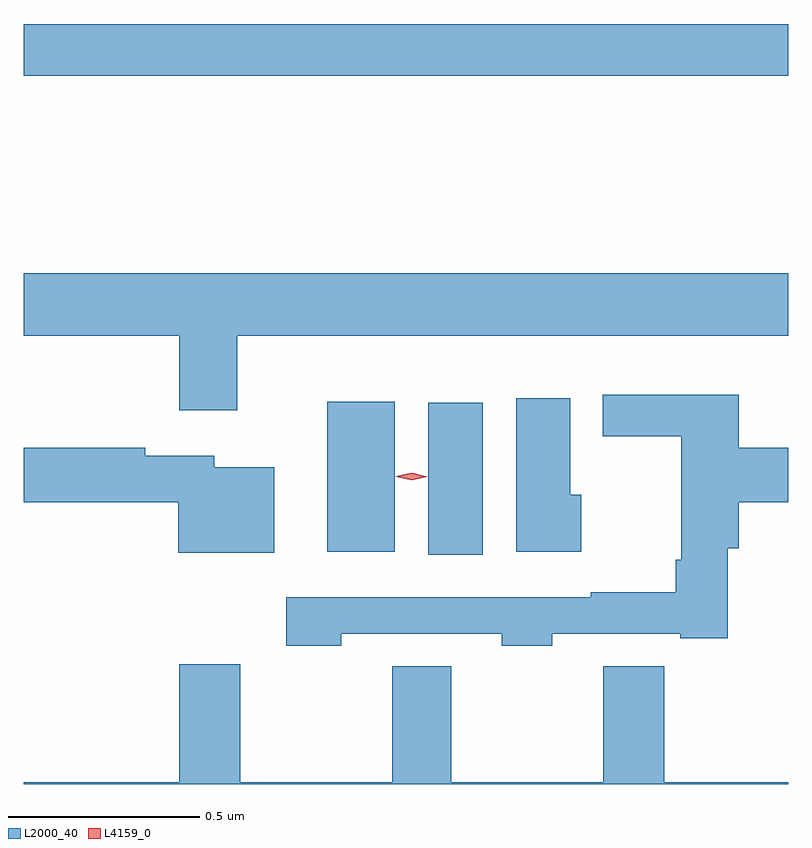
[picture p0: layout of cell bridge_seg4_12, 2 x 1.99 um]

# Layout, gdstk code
import gdstk
lib = gdstk.Library(unit=1e-6, precision=1e-09)
def R(c, l, rs):  # rectangles x0, y0, x1, y1
    for r in rs: c.add(gdstk.rectangle(r[:2], r[2:], *l))
def P(c, l, *ps):  # polygons
    for p in ps: c.add(gdstk.Polygon(p, *l))
L2000_40 = (2000, 40)
L4159_0 = (4159, 0)

bridge_seg4_12 = lib.new_cell('bridge_seg4_12')
R(bridge_seg4_12, L2000_40, [(1130.606,749.628,1130.749,750.025), (1130.342,749.636,1130.518,750.028), (1129.548,750.88,1131.548,751.016)])
P(bridge_seg4_12, L2000_40, [(1130.107,750.2),(1131.548,750.2),(1131.548,750.364),(1129.548,750.364),(1129.548,750.2),(1129.955,750.2),(1129.955,750.006),(1130.107,750.006)],
  [(1130.379,749.421),(1130.799,749.421),(1130.799,749.389),(1130.931,749.389),(1130.931,749.421),(1131.266,749.421),(1131.266,749.409),(1131.389,749.409),(1131.389,749.645),(1131.419,749.645),(1131.419,749.765),(1131.548,749.765),(1131.548,749.907),(1131.419,749.907),(1131.419,750.046),(1131.063,750.046),(1131.063,749.937),(1131.268,749.937),(1131.268,749.614),(1131.253,749.614),(1131.253,749.53),(1131.031,749.53),(1131.031,749.517),(1130.235,749.517),(1130.235,749.389),(1130.379,749.389)],
  [(1131.007,749.784),(1130.977,749.784),(1130.977,750.037),(1130.837,750.037),(1130.837,749.636),(1131.007,749.636)],
  [(1130.203,749.857),(1130.046,749.857),(1130.046,749.887),(1129.866,749.887),(1129.866,749.907),(1129.548,749.907),(1129.548,749.765),(1129.952,749.765),(1129.952,749.633),(1130.203,749.633)],
  [(1131.548,749.032),(1131.224,749.032),(1131.224,749.336),(1131.064,749.336),(1131.064,749.032),(1130.666,749.032),(1130.666,749.336),(1130.512,749.336),(1130.512,749.032),(1130.115,749.032),(1130.115,749.341),(1129.955,749.341),(1129.955,749.032),(1129.548,749.032),(1129.548,749.028),(1131.548,749.028)])
P(bridge_seg4_12, L4159_0, [(1130.563,749.822),(1130.522,749.832),(1130.522,749.832),(1130.522,749.833),(1130.563,749.842),(1130.603,749.832),(1130.603,749.832),(1130.603,749.832)])

lib.write_gds('bridge_seg4_12.gds')
